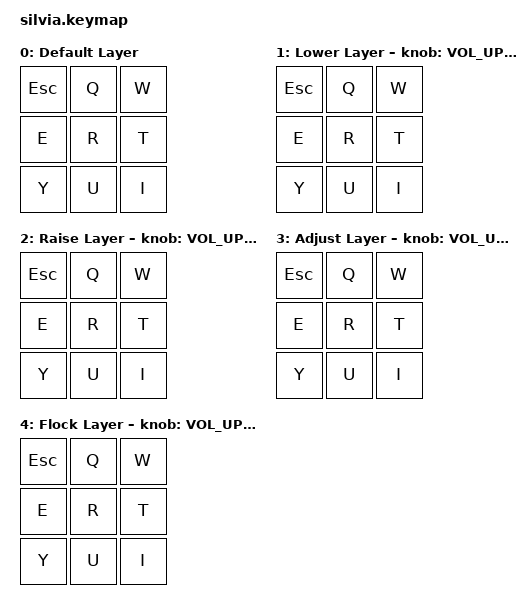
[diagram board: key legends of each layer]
/*
 * Copyright (c) 2022 The ZMK Contributors
 *
 * SPDX-License-Identifier: MIT
 */

#include <behaviors.dtsi>
#include <dt-bindings/zmk/keys.h>
#include <dt-bindings/zmk/bt.h>


/ {
    sensors: sensors {
        compatible = "zmk,keymap-sensors";
        sensors = <&left_encoder>;
        triggers-per-rotation = <20>;
    };

    keymap {
        compatible = "zmk,keymap";

        default_layer {
            display-name = "Default Layer";
    
            bindings = <
                &kp ESC     &kp Q       &kp W   
                &kp E       &kp R       &kp T    
                &kp Y       &kp U       &kp I       
            >;
        };

        lower_layer {
            display-name = "Lower Layer";

            sensor-bindings = <&inc_dec_kp C_VOL_UP C_VOL_DN>;
          
            bindings = <
                &kp ESC     &kp Q       &kp W   
                &kp E       &kp R       &kp T    
                &kp Y       &kp U       &kp I 
                >; 
        };

        raise_layer {
            display-name = "Raise Layer";

            sensor-bindings = <&inc_dec_kp C_VOL_UP C_VOL_DN>;

            bindings = <

                &kp ESC     &kp Q       &kp W   
                &kp E       &kp R       &kp T    
                &kp Y       &kp U       &kp I  
                >;
        };

        adjust_layer {
            display-name = "Adjust Layer";

            sensor-bindings = <&inc_dec_kp C_VOL_UP C_VOL_DN>;
        
            bindings = <

                &kp ESC     &kp Q       &kp W   
                &kp E       &kp R       &kp T    
                &kp Y       &kp U       &kp I  
                >;
        };

        flock_layer {
            display-name = "Flock Layer";

            sensor-bindings = <&inc_dec_kp C_VOL_UP C_VOL_DN>;

            bindings = <

                &kp ESC     &kp Q       &kp W   
                &kp E       &kp R       &kp T    
                &kp Y       &kp U       &kp I  
            >;
        };
    };
};
